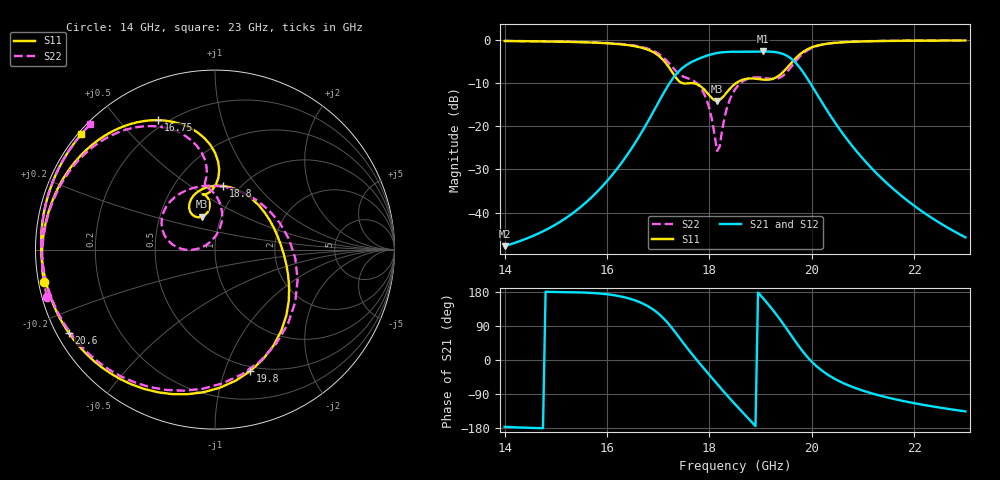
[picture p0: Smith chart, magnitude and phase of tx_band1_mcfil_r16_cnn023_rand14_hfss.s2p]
! Touchstone file exported from HFSS 3D Layout Design 2026.1.0
!  File:  D:/Work/SIM/ADS_AUTO_SIM/projects/RFSOC_RF/TX_Fillter.aedt
!  Generated:  12:54:07 AM Aug 31, 2026
!  Design:  TX_BAND1_MCFIL_R16_CNN023
!  Project:  TX_Fillter
# GHz S MA R 50.000000
! Terminal data exported
! Port[1] = Port1
! Port[2] = Port2
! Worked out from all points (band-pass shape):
!   181 points, 14 GHz to 23 GHz, reference 50 ohm
!   highest |S21| = -2.68 dB at 19.05 GHz (marker M1); lowest = -47.8 dB at 14 GHz (marker M2)
!   |S21| within 3 dB of the highest: 17.57 GHz to 19.71 GHz (2.143 GHz wide, 11.5 % of centre)
!   lowest |S11| = -14.1 dB at 18.15 GHz (marker M3), VSWR 1.49, Z = 40.6 + j15.4 ohm
!   |S11| at or under -10 dB: 17.47 GHz to 18.52 GHz (1.052 GHz wide, 5.84 % of centre)
!   |S22| runs from -25.7 to -0.1 dB; largest |S21 - S12| = 3.1e-14
!   S11 on the Smith chart (normalised r, x): 14 GHz: 0.01, -0.09; 16.75 GHz: 0.17, +0.64; 18.8 GHz: 0.84, +0.69; 19.8 GHz: 0.46, -1.23; 20.6 GHz: 0.03, -0.26; 23 GHz: 0.01, +0.37
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14  0.9708 -169.4  0.004094 -176.2  0.004094 -176.2  0.9729 -164.3
15.5  0.9402 159.1  0.01182 178.3  0.01182 178.3  0.945 165.2
16.2  0.8959 138.2  0.03239 169.5  0.03239 169.5  0.9047 145.3
16.75  0.7881 113.8  0.101 145.6  0.101 145.6  0.8077 122.3
17  0.6614 98.6  0.1867 123.0  0.1867 123.0  0.6953 108.2
17.25  0.4442 87.0  0.3337 87.6  0.3337 87.6  0.5062 96.5
17.5  0.3127 99.3  0.4866 43.2  0.4866 43.2  0.3736 98.6
17.9  0.2658 96.6  0.6414 -23.4  0.6414 -23.4  0.2357 81.4
18.15  0.1968 111.7  0.7047 -63.2  0.7047 -63.2  0.05183 113.2
18.35  0.2513 123.3  0.7257 -94.2  0.7257 -94.2  0.1685 -179.9
18.5  0.3091 115.9  0.7287 -116.5  0.7287 -116.5  0.2665 169.1
18.8  0.3578 82.6  0.7301 -159.8  0.7301 -159.8  0.3616 138.7
19.05  0.3469 45.3  0.7341 162.8  0.7341 162.8  0.3638 108.1
19.3  0.3671 4.5  0.7198 121.4  0.7198 121.4  0.3545 61.9
19.45  0.4313 -19.2  0.6822 93.8  0.6822 93.8  0.3904 22.3
19.65  0.5833 -50.7  0.5699 54.8  0.5699 54.8  0.5344 -33.3
19.8  0.705 -73.9  0.4483 26.7  0.4483 26.7  0.6705 -68.0
20  0.82 -100.7  0.2953 -4.6  0.2953 -4.6  0.8055 -102.6
20.3  0.9025 -130.2  0.1518 -37.7  0.1518 -37.7  0.9024 -136.0
20.6  0.9375 -150.4  0.08305 -60.1  0.08305 -60.1  0.9412 -157.1
21.5  0.9724 173.2  0.02103 -99.7  0.02103 -99.7  0.9753 167.3
23  0.9839 139.2  0.00518 -135.6  0.00518 -135.6  0.9848 134.9
